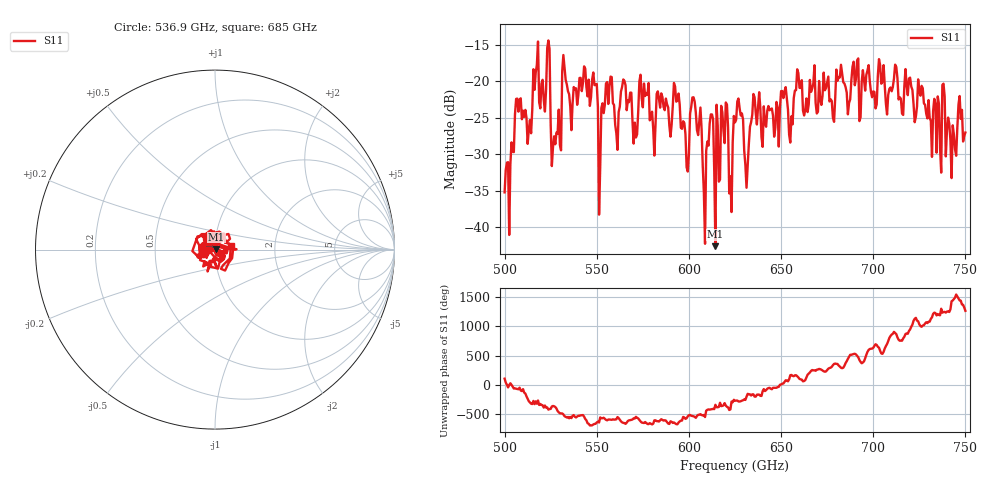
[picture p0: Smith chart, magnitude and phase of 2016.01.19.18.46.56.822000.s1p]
!Created with skrf (http://scikit-rf.org).
# GHz S RI R 50.0
!freq ReS11 ImS11
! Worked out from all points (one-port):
!   401 points, 500 GHz to 750 GHz, reference 50 ohm
!   lowest |S11| = -42.6 dB at 614.4 GHz (marker M1), VSWR 1.01, Z = 50.7 + j0.309 ohm
!   |S11| at or under -10 dB: start of sweep to end of sweep
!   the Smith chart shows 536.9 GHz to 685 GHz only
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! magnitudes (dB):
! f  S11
! 500 GHz  -35.2
! 507.5 GHz  -24.2
! 513.8 GHz  -25.3
! 516.9 GHz  -18.8
! 523.8 GHz  -14.4
! 526.9 GHz  -27.6
! 531.2 GHz  -18.6
! 548.8 GHz  -20.5
! 552.5 GHz  -23.7
! 556.2 GHz  -23.1
! 562.5 GHz  -23.5
! 593.8 GHz  -22.6
! 598.8 GHz  -31.8
! 602.5 GHz  -22.2
! 608.8 GHz  -42.3
! 611.9 GHz  -24.6
! 614.4 GHz  -42.6
! 619.4 GHz  -28.5
! 622.5 GHz  -33.0
! 625 GHz  -25.6
! 628.1 GHz  -24.7
! 631.2 GHz  -34.6
! 635 GHz  -21.8
! 656.2 GHz  -25.9
! 660 GHz  -20.9
! 687.5 GHz  -22.5
! 718.8 GHz  -21.9
! 750 GHz  -27.0
